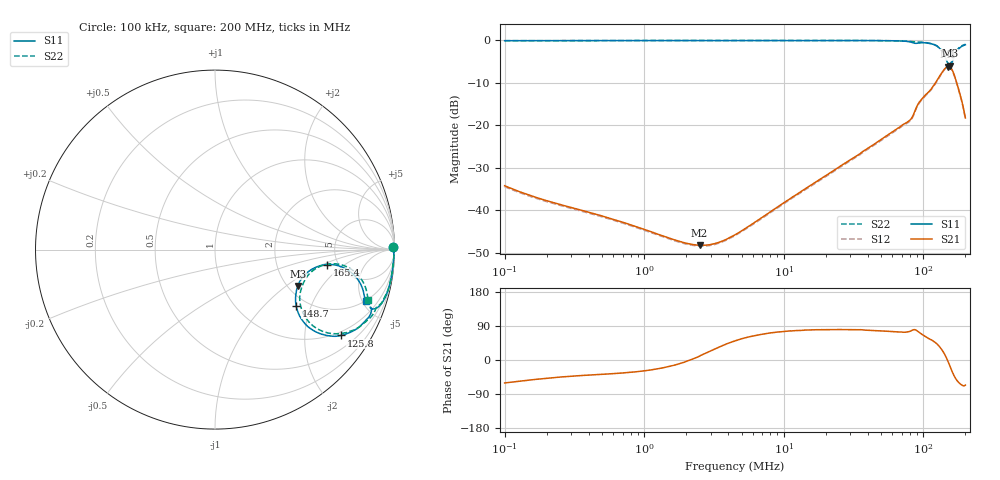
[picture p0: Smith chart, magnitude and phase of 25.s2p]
#  HZ  S  RI  R  50.00
! Rohde & Schwarz Vector Network Analyzer
! Rohde-Schwarz,ZNLE6-2Port,1323001256200024,1.71.1.10-23.02.1.238
! Created: UTC 4/8/2025, 2:28:34 AM
! freq[Hz]  re:S11  im:S11  re:S21  im:S21  re:S12  im:S12  re:S22  im:S22
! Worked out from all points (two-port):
!   1001 points, 100 kHz to 200 MHz, reference 50 ohm
!   highest |S21| = -6.16 dB at 151 MHz (marker M1); lowest = -48.3 dB at 2.491 MHz (marker M2)
!   |S21| within 3 dB of the highest: 126.7 MHz to 170.3 MHz (43.53 MHz wide, 29.3 % of centre)
!   lowest |S11| = -6.0 dB at 154.5 MHz (marker M3), VSWR 3.03, Z = 113 - j61 ohm
!   |S11| at or under -10 dB: nowhere
!   |S22| runs from -5.6 to 0.0 dB; largest |S21 - S12| = 0.0098
!   S11 on the Smith chart (normalised r, x): 100 kHz: open; 125.8 MHz: 0.87, -3.02; 148.7 MHz: 1.75, -1.57; 165.4 MHz: 4.06, -1.12; 200 MHz: 1.95, -5.28
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100000  0.9906 0.0167  0.00954 -0.0169  0.00929 -0.0165  0.9908 0.0162
355854.1  0.9925 0.00567  0.00754 -0.00654  0.00735 -0.00639  0.9928 0.00557
1266322  0.9951 -0.00105  0.00478 -0.00202  0.00467 -0.00198  0.9952 -0.000935
2490782  0.9961 -0.00656  0.0038 0.000673  0.00371 0.000657  0.9962 -0.00598
3274709  0.9965 -0.00964  0.00352 0.00207  0.00346 0.00199  0.9969 -0.00808
4472136  0.9965 -0.0145  0.00326 0.00397  0.00322 0.00386  0.997 -0.0121
1.591428e7  0.9953 -0.0575  0.00371 0.0198  0.00377 0.0192  0.9956 -0.054
3.251501e7  0.9883 -0.1196  0.0076 0.0419  0.00825 0.0407  0.9895 -0.1122
5.663162e7  0.9674 -0.2161  0.0196 0.076  0.0201 0.0737  0.9713 -0.2015
7.972699e7  0.9049 -0.323  0.0286 0.1105  0.0293 0.1073  0.9287 -0.2955
8.86788e7  0.8646 -0.3207  0.0312 0.1565  0.0324 0.1524  0.9 -0.3206
9.495745e7  0.872 -0.3355  0.0639 0.1829  0.0645 0.178  0.8906 -0.3424
1.072372e8  0.8357 -0.3994  0.1269 0.204  0.1253 0.1996  0.8457 -0.3969
1.257961e8  0.7038 -0.4781  0.2558 0.2272  0.2509 0.2202  0.7173 -0.4646
1.378096e8  0.5563 -0.4553  0.3965 0.1702  0.3897 0.1704  0.5735 -0.443
1.486928e8  0.4519 -0.3124  0.4892 -0.00168  0.4854 -0.0039  0.4729 -0.2912
1.509704e8  0.4488 -0.269  0.4895 -0.0503  0.4838 -0.0534  0.4736 -0.2461
1.544525e8  0.4611 -0.2022  0.4722 -0.1227  0.4647 -0.1244  0.4933 -0.1841
1.604354e8  0.5388 -0.11  0.392 -0.2243  0.3833 -0.2248  0.5691 -0.1015
1.653881e8  0.6231 -0.0833  0.3053 -0.2606  0.2968 -0.2595  0.6493 -0.0788
1.798107e8  0.7849 -0.1529  0.1289 -0.2232  0.1233 -0.2204  0.8034 -0.1493
2e8  0.8387 -0.2886  0.0494 -0.1115  0.0472 -0.1096  0.8544 -0.2812
